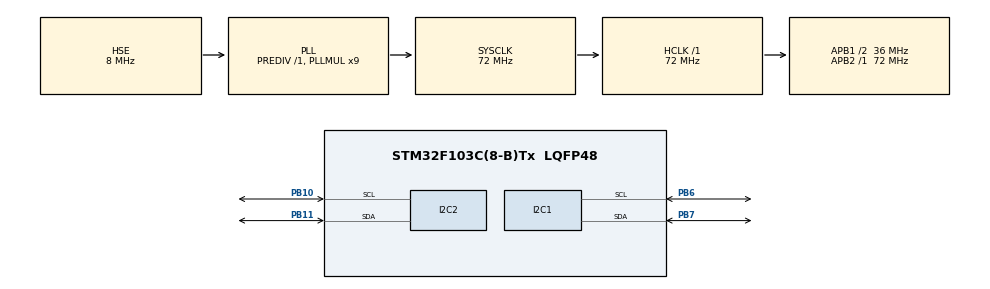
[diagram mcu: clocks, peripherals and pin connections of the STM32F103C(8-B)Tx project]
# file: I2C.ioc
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I2C1.I2C_Mode=I2C_Fast
Mcu.Family=STM32F1
Mcu.Name=STM32F103C(8-B)Tx
Mcu.Package=LQFP48
NVIC.PriorityGroup=NVIC_PRIORITYGROUP_4
PA13.Mode=Serial_Wire
PA13.Signal=SYS_JTMS-SWDIO
PA14.Mode=Serial_Wire
PA14.Signal=SYS_JTCK-SWCLK
PB10.Mode=I2C
PB10.Signal=I2C2_SCL
PB11.Mode=I2C
PB11.Signal=I2C2_SDA
PB6.Mode=I2C
PB6.Signal=I2C1_SCL
PB7.Mode=I2C
PB7.Signal=I2C1_SDA
PC14-OSC32_IN.Mode=LSE-External-Oscillator
PC14-OSC32_IN.Signal=RCC_OSC32_IN
PC15-OSC32_OUT.Mode=LSE-External-Oscillator
PC15-OSC32_OUT.Signal=RCC_OSC32_OUT
PD0-OSC_IN.Mode=HSE-External-Oscillator
PD0-OSC_IN.Signal=RCC_OSC_IN
PD1-OSC_OUT.Mode=HSE-External-Oscillator
PD1-OSC_OUT.Signal=RCC_OSC_OUT
ProjectManager.HeapSize=0x200
ProjectManager.StackSize=0x400
ProjectManager.TargetToolchain=STM32CubeIDE
RCC.AHBFreq_Value=72000000
RCC.APB1CLKDivider=RCC_HCLK_DIV2
RCC.APB1Freq_Value=36000000
RCC.APB1TimFreq_Value=72000000
RCC.APB2Freq_Value=72000000
RCC.APB2TimFreq_Value=72000000
RCC.HCLKFreq_Value=72000000
RCC.PLLMUL=RCC_PLL_MUL9
RCC.PLLSourceVirtual=RCC_PLLSOURCE_HSE
RCC.SYSCLKFreq_VALUE=72000000
RCC.SYSCLKSource=RCC_SYSCLKSOURCE_PLLCLK
RCC.USBFreq_Value=72000000
board=custom

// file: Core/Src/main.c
/* USER CODE BEGIN Header */
/**
  ******************************************************************************
  * @file           : main.c
  * @brief          : Main program body
  ******************************************************************************
  * @attention
  *
  * Copyright (c) 2025 STMicroelectronics.
  * All rights reserved.
  *
  * This software is licensed under terms that can be found in the LICENSE file
  * in the root directory of this software component.
  * If no LICENSE file comes with this software, it is provided AS-IS.
  *
  ******************************************************************************
  */
/* USER CODE END Header */
#include "main.h"

/* USER CODE BEGIN Includes */
#include <stdio.h>
#include <string.h>
#include <stdint.h>
/* USER CODE END Includes */

I2C_HandleTypeDef hi2c1;
I2C_HandleTypeDef hi2c2;

/* USER CODE BEGIN PV */
uint8_t i2c1_devices[128];
uint8_t i2c1_device_count = 0;
uint8_t i2c2_devices[128];
uint8_t i2c2_device_count = 0;
/* USER CODE END PV */

void SystemClock_Config(void);
static void MX_GPIO_Init(void);
static void MX_I2C1_Init(void);
static void MX_I2C2_Init(void);

/* USER CODE BEGIN 0 */

void I2C_Scan_Bus(I2C_HandleTypeDef *hi2c, uint8_t *device_list, uint8_t *device_count)
{
    *device_count = 0;

    for(uint8_t i = 1; i < 128; i++)
    {
        // Increased trials to 10 and timeout to 100ms for 10k pull-ups
        if(HAL_I2C_IsDeviceReady(hi2c, (uint16_t)(i<<1), 10, 100) == HAL_OK)
        {
            device_list[*device_count] = i;
            (*device_count)++;
        }
        HAL_Delay(5);
    }
}

/* USER CODE END 0 */

int main(void)
{

  /* MCU Configuration--------------------------------------------------------*/

  /* Reset of all peripherals, Initializes the Flash interface and the Systick. */
  HAL_Init();

  /* Configure the system clock */
  SystemClock_Config();

  /* Initialize all configured peripherals */
  MX_GPIO_Init();
  MX_I2C1_Init();
  MX_I2C2_Init();
  /* USER CODE BEGIN 2 */

  // Scan I2C buses for connected devices
  I2C_Scan_Bus(&hi2c1, i2c1_devices, &i2c1_device_count);
  I2C_Scan_Bus(&hi2c2, i2c2_devices, &i2c2_device_count);

  /* USER CODE END 2 */

  /* Infinite loop */
  while (1)
  {

  }
}

void SystemClock_Config(void)
{
  RCC_OscInitTypeDef RCC_OscInitStruct = {0};
  RCC_ClkInitTypeDef RCC_ClkInitStruct = {0};

  /** Initializes the RCC Oscillators according to the specified parameters
  * in the RCC_OscInitTypeDef structure.
  */
  RCC_OscInitStruct.OscillatorType = RCC_OSCILLATORTYPE_HSE;
  RCC_OscInitStruct.HSEState = RCC_HSE_ON;
  RCC_OscInitStruct.HSEPredivValue = RCC_HSE_PREDIV_DIV1;
  RCC_OscInitStruct.HSIState = RCC_HSI_ON;
  RCC_OscInitStruct.PLL.PLLState = RCC_PLL_ON;
  RCC_OscInitStruct.PLL.PLLSource = RCC_PLLSOURCE_HSE;
  RCC_OscInitStruct.PLL.PLLMUL = RCC_PLL_MUL9;
  if (HAL_RCC_OscConfig(&RCC_OscInitStruct) != HAL_OK)
  {
    Error_Handler();
  }

  /** Initializes the CPU, AHB and APB buses clocks
  */
  RCC_ClkInitStruct.ClockType = RCC_CLOCKTYPE_HCLK|RCC_CLOCKTYPE_SYSCLK
                              |RCC_CLOCKTYPE_PCLK1|RCC_CLOCKTYPE_PCLK2;
  RCC_ClkInitStruct.SYSCLKSource = RCC_SYSCLKSOURCE_PLLCLK;
  RCC_ClkInitStruct.AHBCLKDivider = RCC_SYSCLK_DIV1;
  RCC_ClkInitStruct.APB1CLKDivider = RCC_HCLK_DIV2;
  RCC_ClkInitStruct.APB2CLKDivider = RCC_HCLK_DIV1;

  if (HAL_RCC_ClockConfig(&RCC_ClkInitStruct, FLASH_LATENCY_2) != HAL_OK)
  {
    Error_Handler();
  }
}

static void MX_I2C1_Init(void)
{

  hi2c1.Instance = I2C1;
  hi2c1.Init.ClockSpeed = 400000;
  hi2c1.Init.DutyCycle = I2C_DUTYCYCLE_2;
  hi2c1.Init.OwnAddress1 = 0;
  hi2c1.Init.AddressingMode = I2C_ADDRESSINGMODE_7BIT;
  hi2c1.Init.DualAddressMode = I2C_DUALADDRESS_DISABLE;
  hi2c1.Init.OwnAddress2 = 0;
  hi2c1.Init.GeneralCallMode = I2C_GENERALCALL_DISABLE;
  hi2c1.Init.NoStretchMode = I2C_NOSTRETCH_DISABLE;
  if (HAL_I2C_Init(&hi2c1) != HAL_OK)
  {
    Error_Handler();
  }

}

static void MX_I2C2_Init(void)
{

  hi2c2.Instance = I2C2;
  hi2c2.Init.ClockSpeed = 100000;
  hi2c2.Init.DutyCycle = I2C_DUTYCYCLE_2;
  hi2c2.Init.OwnAddress1 = 0;
  hi2c2.Init.AddressingMode = I2C_ADDRESSINGMODE_7BIT;
  hi2c2.Init.DualAddressMode = I2C_DUALADDRESS_DISABLE;
  hi2c2.Init.OwnAddress2 = 0;
  hi2c2.Init.GeneralCallMode = I2C_GENERALCALL_DISABLE;
  hi2c2.Init.NoStretchMode = I2C_NOSTRETCH_DISABLE;
  if (HAL_I2C_Init(&hi2c2) != HAL_OK)
  {
    Error_Handler();
  }

}

static void MX_GPIO_Init(void)
{

  /* GPIO Ports Clock Enable */
  __HAL_RCC_GPIOC_CLK_ENABLE();
  __HAL_RCC_GPIOD_CLK_ENABLE();
  __HAL_RCC_GPIOB_CLK_ENABLE();
  __HAL_RCC_GPIOA_CLK_ENABLE();

}

void Error_Handler(void)
{
  __disable_irq();
  while (1)
  {
  }
}
